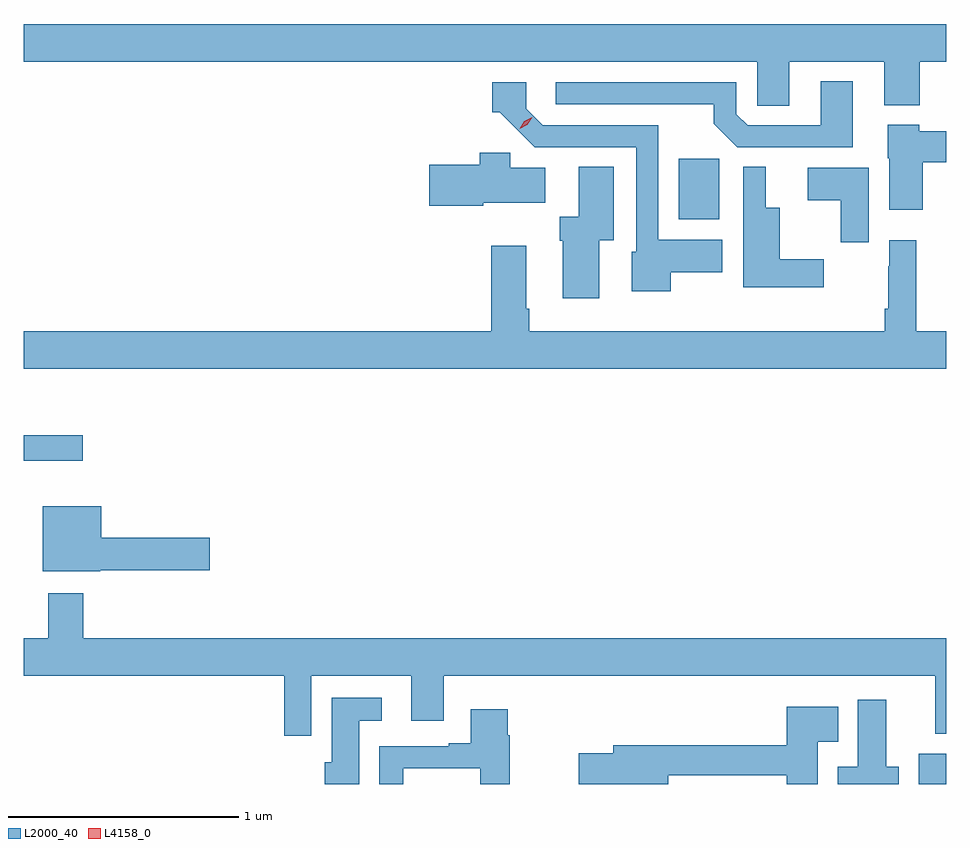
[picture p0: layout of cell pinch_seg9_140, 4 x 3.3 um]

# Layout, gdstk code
import gdstk
lib = gdstk.Library(unit=1e-6, precision=1e-09)
def R(c, l, rs):  # rectangles x0, y0, x1, y1
    for r in rs: c.add(gdstk.rectangle(r[:2], r[2:], *l))
def P(c, l, *ps):  # polygons
    for p in ps: c.add(gdstk.Polygon(p, *l))
L2000_40 = (2000, 40)
L4158_0 = (4158, 0)

pinch_seg9_140 = lib.new_cell('pinch_seg9_140')
R(pinch_seg9_140, L2000_40, [(648.773,1221.259,648.891,1221.391), (644.891,1222.661,645.145,1222.771), (647.732,1223.708,647.908,1223.972)])
P(pinch_seg9_140, L2000_40, [(648.211,1224.392),(648.623,1224.392),(648.623,1224.203),(648.776,1224.203),(648.776,1224.392),(648.891,1224.392),(648.891,1224.556),(644.891,1224.556),(644.891,1224.392),(648.072,1224.392),(648.072,1224.202),(648.211,1224.202)],
  [(648.487,1224.307),(648.347,1224.307),(648.347,1224.117),(648.03,1224.117),(647.982,1224.165),(647.982,1224.303),(647.199,1224.303),(647.199,1224.207),(647.884,1224.207),(647.884,1224.123),(647.985,1224.021),(648.487,1224.021)],
  [(647.697,1223.48),(647.92,1223.48),(647.92,1223.62),(647.643,1223.62),(647.643,1224.117),(647.142,1224.117),(647.07,1224.189),(647.07,1224.303),(646.923,1224.303),(646.923,1224.173),(646.954,1224.173),(647.106,1224.021),(647.547,1224.021),(647.547,1223.568),(647.528,1223.568),(647.528,1223.396),(647.697,1223.396)],
  [(648.791,1223.957),(648.891,1223.957),(648.891,1224.091),(648.774,1224.091),(648.774,1224.118),(648.638,1224.118),(648.638,1223.973),(648.644,1223.973),(648.644,1223.751),(648.791,1223.751)],
  [(646.884,1223.78),(647.152,1223.78),(647.152,1223.932),(647.001,1223.932),(647.001,1223.997),(646.868,1223.997),(646.868,1223.946),(646.65,1223.946),(646.65,1223.768),(646.884,1223.768)],
  [(648.361,1223.536),(648.169,1223.536),(648.169,1223.758),(648.11,1223.758),(648.11,1223.936),(648.012,1223.936),(648.012,1223.414),(648.361,1223.414)],
  [(647.386,1223.618),(647.449,1223.618),(647.449,1223.936),(647.297,1223.936),(647.297,1223.719),(647.216,1223.719),(647.216,1223.615),(647.228,1223.615),(647.228,1223.367),(647.386,1223.367)],
  [(648.556,1223.932),(648.291,1223.932),(648.291,1223.792),(648.434,1223.792),(648.434,1223.61),(648.556,1223.61)],
  [(648.891,1223.224),(648.761,1223.224),(648.761,1223.617),(648.645,1223.617),(648.645,1223.504),(648.64,1223.504),(648.64,1223.32),(648.625,1223.32),(648.625,1223.224),(647.084,1223.224),(647.084,1223.32),(647.071,1223.32),(647.071,1223.593),(646.919,1223.593),(646.919,1223.224),(644.891,1223.224),(644.891,1223.06),(648.891,1223.06)],
  [(645.222,1222.186),(645.697,1222.186),(645.697,1222.328),(645.226,1222.328),(645.226,1222.465),(644.972,1222.465),(644.972,1222.181),(645.222,1222.181)],
  [(646.137,1221.728),(646.571,1221.728),(646.571,1221.534),(646.711,1221.534),(646.711,1221.728),(648.845,1221.728),(648.845,1221.476),(648.891,1221.476),(648.891,1221.892),(645.149,1221.892),(645.149,1222.087),(644.996,1222.087),(644.996,1221.892),(644.891,1221.892),(644.891,1221.728),(646.021,1221.728),(646.021,1221.468),(646.137,1221.468)],
  [(646.345,1221.533),(646.444,1221.533),(646.444,1221.634),(646.226,1221.634),(646.226,1221.354),(646.196,1221.354),(646.196,1221.259),(646.345,1221.259)],
  [(648.685,1221.334),(648.631,1221.334),(648.631,1221.625),(648.509,1221.625),(648.509,1221.334),(648.422,1221.334),(648.422,1221.259),(648.685,1221.259)],
  [(647.686,1221.298),(648.2,1221.298),(648.2,1221.259),(648.334,1221.259),(648.334,1221.443),(648.424,1221.443),(648.424,1221.595),(648.2,1221.595),(648.2,1221.427),(647.447,1221.427),(647.447,1221.393),(647.298,1221.393),(647.298,1221.259),(647.686,1221.259)],
  [(646.537,1221.327),(646.871,1221.327),(646.871,1221.259),(646.998,1221.259),(646.998,1221.47),(646.99,1221.47),(646.99,1221.583),(646.829,1221.583),(646.829,1221.436),(646.733,1221.436),(646.733,1221.423),(646.433,1221.423),(646.433,1221.259),(646.537,1221.259)])
P(pinch_seg9_140, L4158_0, [(647.042,1224.102),(647.042,1224.102),(647.062,1224.134),(647.095,1224.151),(647.095,1224.151),(647.095,1224.151),(647.075,1224.119),(647.042,1224.102)])

lib.write_gds('pinch_seg9_140.gds')
